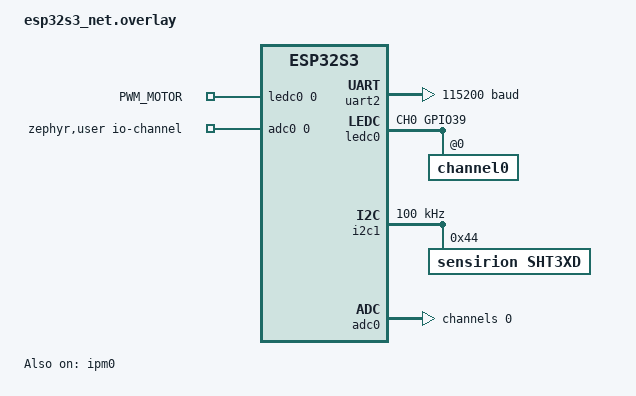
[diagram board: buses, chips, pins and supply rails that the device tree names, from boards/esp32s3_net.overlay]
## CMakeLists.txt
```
# SPDX-License-Identifier: Apache-2.0

cmake_minimum_required(VERSION 3.20.0)

find_package(Zephyr REQUIRED HINTS $ENV{ZEPHYR_BASE})
project(remote)

target_sources(app PRIVATE
  src/buttons.c
  src/main.c
  src/temp_sensor.c
  )
```

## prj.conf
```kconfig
CONFIG_HEAP_MEM_POOL_SIZE=2048
CONFIG_MAIN_STACK_SIZE=2048
CONFIG_KERNEL_BIN_NAME="esp32_net_firmware"

CONFIG_LOG=y
CONFIG_LOG_BUFFER_SIZE=256
CONFIG_GPIO=y
CONFIG_ADC=y
CONFIG_PWM=y
CONFIG_I2C=y
CONFIG_SENSOR=y
CONFIG_CBPRINTF_FP_SUPPORT=y

CONFIG_RPMSG_SERVICE=y
CONFIG_RPMSG_SERVICE_MODE_REMOTE=y
CONFIG_OPENAMP_MASTER=n
```

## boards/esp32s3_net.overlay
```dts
/*
 * Copyright (c) 2023 Espressif Systems (Shanghai) Co., Ltd.
 *
 * SPDX-License-Identifier: Apache-2.0
 */

#include <zephyr/dt-bindings/pwm/pwm.h>
#include <dt-bindings/pinctrl/esp32-pinctrl.h>

/ {
	aliases {
		pwm-0 = &ledc0;
		pwm-motor = &pwm_motor;
	};

	chosen {
		zephyr,console = &uart2;
		zephyr,shell-uart = &uart2;
		zephyr,ipc_shm = &shm0;
		zephyr,ipc = &ipm0;
	};

	pwmleds {
		compatible = "pwm-leds";
		pwm_motor: pwm_motor {
			label = "PWM_MOTOR";
			pwms = <&ledc0 0 1000 PWM_POLARITY_NORMAL>;
		};
	};

	zephyr,user {
		io-channels = <&adc0 0>;
	};
};

&uart2 {
	status = "okay";
	current-speed = <115200>;
	pinctrl-0 = <&uart2_default>;
	pinctrl-names = "default";
};

&pinctrl {
	ledc0_default: ledc0_default {
		group1 {
			pinmux = <LEDC_CH0_GPIO39>;
			output-enable;
		};
	};

	i2c1_default: i2c1_default {
		group1 {
			pinmux = <I2C1_SDA_GPIO13>,
				 <I2C1_SCL_GPIO12>;
			bias-pull-up;
			drive-open-drain;
			output-high;
		};
	};
};

&ledc0 {
	pinctrl-0 = <&ledc0_default>;
	pinctrl-names = "default";
	status = "okay";
	#address-cells = <1>;
	#size-cells = <0>;
	channel0@0 {
		reg = <0x0>;
		timer = <0>;
	};
};

&gpio0 {
	status = "okay";
};

&gpio1 {
	status = "okay";
};

&i2c1 {
	status = "okay";
	clock-frequency = <I2C_BITRATE_STANDARD>;
	pinctrl-0 = <&i2c1_default>;
	pinctrl-names = "default";
	status = "okay";
	#address-cells = <1>;
	#size-cells = <0>;
	sht3xd@44 {
		compatible = "sensirion,sht3xd";
		reg = <0x44>;
	};
};

&adc0 {
	status = "okay";
	#address-cells = <1>;
	#size-cells = <0>;

	channel@0 {
		reg = <0>;
		zephyr,gain = "ADC_GAIN_1_4";
		zephyr,reference = "ADC_REF_INTERNAL";
		zephyr,acquisition-time = <ADC_ACQ_TIME_DEFAULT>;
		zephyr,resolution = <13>;
	};
};

&ipm0 {
	status = "okay";
};
```

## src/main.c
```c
#include <zephyr/device.h>
#include <zephyr/devicetree.h>
#include <zephyr/data/json.h>
#include <zephyr/kernel.h>
#include <zephyr/ipc/rpmsg_service.h>

#include <stdio.h>
#include <string.h>

#include "buttons.h"
#include "temp_sensor.h"

#include <zephyr/logging/log.h>
LOG_MODULE_REGISTER(cpu1, CONFIG_LOG_DEFAULT_LEVEL);

static struct k_work motor_work;

#include <zephyr/drivers/pwm.h>
#define MIN_PERIOD PWM_SEC(1U) / 128U
#define MAX_PERIOD PWM_SEC(1U)

static uint32_t motor_period = 6400;
static bool motor_running = false;

static const struct pwm_dt_spec pwm_motor = PWM_DT_SPEC_GET(DT_ALIAS(pwm_motor));

static int ep_id;

struct sensor {
	uint32_t motor_rpm;
	float temp;
};

static struct sensor evt_status = {.motor_rpm = 0};

struct motor_data {
	uint32_t speed;
};

static int send_data_to_cpu0(void)
{
	int sent = rpmsg_service_send(ep_id, &evt_status, sizeof(struct sensor));
	return sent;
}

static void motor_event(struct k_work *work)
{
	if (motor_running) {
		if (motor_period > 0) {
			pwm_set_dt(&pwm_motor, PWM_HZ(motor_period), PWM_HZ(motor_period) / 2);
		} else {
			pwm_set_pulse_dt(&pwm_motor, 0);
		}
	} else {
		/* Disable the PWM */
		pwm_set_pulse_dt(&pwm_motor, 0);
	}

	send_data_to_cpu0();
}

static void motor_start(void)
{
	if (!device_is_ready(pwm_motor.dev)) {
		printk("Error: PWM device %s is not ready\n", pwm_motor.dev->name);
		return;
	}

	k_work_init(&motor_work, motor_event);
	k_work_submit(&motor_work);
}

static void button_cb(int button)
{
	if (button == BTN_LEFT) {
		if (motor_period >= 160) {
			motor_period -= 160;
		}
	}

	if (button == BTN_RIGHT) {
		if (motor_period <= 6400 - 160) {
			motor_period += 160;
		}
	}

	if (button == BTN_CENTER) {
		if (!motor_running) {
			motor_running = true;
		} else {
			motor_running = false;
		}
	}

	if (motor_running) {
		evt_status.motor_rpm = motor_period * 60 / 1600;
	} else {
		evt_status.motor_rpm = 0;
	}

	k_work_submit(&motor_work);
}

int main(void)
{
	char msg[50];
	float temp;

	temp_init();
	motor_start();
	buttons_init(button_cb);

	for (;;) {
		evt_status.temp = temp_read();
		LOG_INF("temp sensor: %0.1fºC", evt_status.temp);
		send_data_to_cpu0();

		k_msleep(2000);
	}

	return 0;
}

int endpoint_cb(struct rpmsg_endpoint *ept, void *data, size_t len, uint32_t src, void *priv)
{
	return RPMSG_SUCCESS;
}

/* Make sure we register endpoint before RPMsg Service is initialized. */
int register_endpoint(void)
{
	int status;

	status = rpmsg_service_register_endpoint("demo", endpoint_cb);

	if (status < 0) {
		ets_printf("rpmsg_create_ept failed %d\n", status);
		return status;
	}

	ep_id = status;

	return 0;
}

SYS_INIT(register_endpoint, POST_KERNEL, CONFIG_RPMSG_SERVICE_EP_REG_PRIORITY);
```

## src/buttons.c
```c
/*
 * Copyright (c) 2020 Libre Solar Technologies GmbH
 *
 * SPDX-License-Identifier: Apache-2.0
 */

#include <inttypes.h>
#include <stddef.h>
#include <stdint.h>

#include <zephyr/device.h>
#include <zephyr/devicetree.h>
#include <zephyr/drivers/adc.h>
#include <zephyr/kernel.h>
#include <zephyr/sys/printk.h>
#include <zephyr/sys/util.h>

#include "buttons.h"

#if !DT_NODE_EXISTS(DT_PATH(zephyr_user)) || !DT_NODE_HAS_PROP(DT_PATH(zephyr_user), io_channels)
#error "No suitable devicetree overlay specified"
#endif

#define DT_SPEC_AND_COMMA(node_id, prop, idx) ADC_DT_SPEC_GET_BY_IDX(node_id, idx),

/* Data of ADC io-channels specified in devicetree. */
static const struct adc_dt_spec adc_channels[] = {
	DT_FOREACH_PROP_ELEM(DT_PATH(zephyr_user), io_channels, DT_SPEC_AND_COMMA)};

static struct adc_sequence sequence;

static void (*btn_action)(uint8_t button);

void buttons_init(void *callback)
{
	int err;

	if (callback != NULL) {
		btn_action = callback;
	}

	/* Configure channels individually prior to sampling. */
	if (!device_is_ready(adc_channels[0].dev)) {
		printk("ADC/Button controller device %s not ready\n", adc_channels[0].dev->name);
		return;
	}

	err = adc_channel_setup_dt(&adc_channels[0]);
	if (err < 0) {
		printk("Could not setup channel (%d)\n", err);
		return;
	}
}

static void button_task(void)
{
	int err;
	int32_t val_mv;
	uint32_t count = 0;
	uint16_t buf;
	struct adc_sequence sequence = {
		.buffer = &buf,
		.buffer_size = sizeof(buf),
		.oversampling = 2,
	};

	for (;;) {
		(void)adc_sequence_init_dt(&adc_channels[0], &sequence);

		err = adc_read(adc_channels[0].dev, &sequence);
		if (err < 0) {
			printk("Could not read (%d)\n", err);
			continue;
		}

		if (adc_channels[0].channel_cfg.differential) {
			val_mv = (int32_t)((int16_t)buf);
		} else {
			val_mv = (int32_t)buf;
		}
		err = adc_raw_to_millivolts_dt(&adc_channels[0], &val_mv);
		if (err < 0) {
			// printk(" (value in mV not available)\n");
		} else {
			if (btn_action != NULL) {
				// btn_not_pressed = 3079mV
				// btn_left = 2400mV
				// btn_center = 1987mV
				// btn_right = 807mV
				if (val_mv > 2200 && val_mv < 2600) {
					btn_action(BTN_LEFT);
					k_sleep(K_MSEC(200));
				} else if (val_mv > 1800 && val_mv < 2100) {
					btn_action(BTN_CENTER);
					k_sleep(K_MSEC(200));
				} else if (val_mv > 600 && val_mv < 1000) {
					btn_action(BTN_RIGHT);
					k_sleep(K_MSEC(200));
				}
			}
		}

		k_sleep(K_MSEC(10));
	}
}

K_THREAD_DEFINE(buttons_thread, 1024, button_task, NULL, NULL, NULL, 3, 0, 0);
```

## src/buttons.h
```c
#ifndef __BUTTONS_H__
#define __BUTTONS_H__

enum {
	BTN_LEFT,
	BTN_CENTER,
	BTN_RIGHT
};

void buttons_init(void *callback);

#endif
```

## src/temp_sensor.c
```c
#include <zephyr/kernel.h>
#include <zephyr/device.h>
#include <zephyr/drivers/sensor.h>
#include <stdio.h>

#include "temp_sensor.h"

const struct device *const dev = DEVICE_DT_GET_ONE(sensirion_sht3xd);

void temp_init(void)
{
	if (!device_is_ready(dev)) {
		printf("Device %s is not ready\n", dev->name);
	}
}

float temp_read(void)
{
	int rc;
	struct sensor_value temp, hum;

	rc = sensor_sample_fetch(dev);
	if (rc == 0) {
		rc = sensor_channel_get(dev, SENSOR_CHAN_AMBIENT_TEMP, &temp);
	}

	if (rc == 0) {
		rc = sensor_channel_get(dev, SENSOR_CHAN_HUMIDITY, &hum);
	}

	if (rc != 0) {
		printf("SHT3XD: failed: %d\n", rc);
	}

	return sensor_value_to_double(&temp);
}
```

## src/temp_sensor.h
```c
#ifndef __TEMP_H__
#define __TEMP_H__

void temp_init(void);
float temp_read(void);

#endif
```
